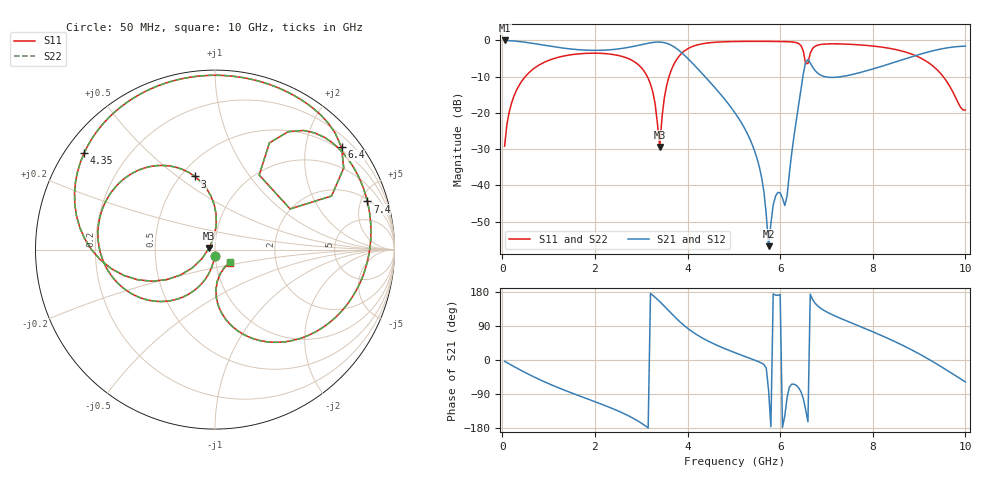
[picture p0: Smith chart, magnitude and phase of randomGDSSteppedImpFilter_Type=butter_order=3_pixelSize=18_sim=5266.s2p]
! freq	dB(S11)	phase(S11)	dB(S12)	phase(S12)
!  dB(S21)	phase(S21)	dB(S22)	phase(S22)
!S-par simulation data
#  GHz  S  DB  R 50
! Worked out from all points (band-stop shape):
!   200 points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, 50 MHz to 10 GHz, reference 50 ohm
!   highest |S21| = -0.01 dB at 50 MHz (marker M1); lowest = -56.7 dB at 5.75 GHz (marker M2)
!   |S21| within 3 dB of the highest: start of sweep to 3.838 GHz; 9.25 GHz to end of sweep
!   lowest |S11| = -29.4 dB at 3.4 GHz (marker M3), VSWR 1.07, Z = 46.8 + j0.802 ohm
!   |S11| at or under -10 dB: start of sweep to 495.2 MHz; 3.132 GHz to 3.6 GHz (467.8 MHz wide, 13.9 % of centre); 9.522 GHz to end of sweep
!   |S22| runs from -29.4 to -0.3 dB; largest |S21 - S12| = 0
!   S11 on the Smith chart (normalised r, x): 50 MHz: 0.99, -0.07; 3 GHz: 0.58, +0.58; 4.35 GHz: 0.05, +0.33; 6.4 GHz: 0.43, +2.77; 7.4 GHz: 2.18, +5.66; 10 GHz: 1.17, -0.17
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0.05  -29.14 -93.6  -0.01 -3.5  -0.01 -3.5  -29.14 -93.6
0.2  -17.26 -104.3  -0.10 -13.8  -0.10 -13.8  -17.26 -104.3
0.5  -9.92 -124.0  -0.52 -33.5  -0.52 -33.5  -9.92 -124.0
1.75  -3.61 171.0  -2.64 -98.6  -2.64 -98.6  -3.61 171.0
3  -7.47 105.4  -1.17 -166.4  -1.17 -166.4  -7.47 105.4
3.25  -14.23 88.1  -0.55 170.9  -0.55 170.9  -14.23 88.0
3.4  -29.39 165.4  -0.45 154.1  -0.45 154.1  -29.43 165.5
3.5  -15.76 -141.2  -0.62 141.9  -0.62 141.9  -15.76 -141.1
3.65  -8.15 -153.3  -1.34 122.9  -1.34 122.9  -8.15 -153.2
4.35  -0.86 143.7  -9.60 56.0  -9.60 56.0  -0.86 143.7
5.05  -0.29 106.9  -20.45 18.1  -20.45 18.1  -0.29 106.9
5.55  -0.25 85.2  -34.87 -5.4  -34.87 -5.4  -0.25 85.2
5.75  -0.26 76.5  -56.73 -79.7  -56.73 -79.7  -0.26 76.5
5.9  -0.28 69.9  -42.94 171.4  -42.94 171.4  -0.28 69.9
6.15  -0.34 57.6  -42.84 -98.7  -42.84 -98.7  -0.34 57.6
6.4  -0.86 38.9  -17.66 -73.3  -17.66 -73.3  -0.86 38.9
6.55  -6.45 28.4  -6.01 -130.7  -6.01 -130.7  -6.46 28.4
6.7  -2.23 58.2  -7.33 159.7  -7.33 159.7  -2.23 58.2
7.4  -1.01 17.6  -9.81 104.9  -9.81 104.9  -1.01 17.6
8.35  -2.16 -26.9  -6.51 55.7  -6.51 55.7  -2.16 -27.0
9.35  -7.63 -79.3  -2.70 -8.2  -2.70 -8.2  -7.63 -79.5
10  -19.18 -41.4  -1.58 -57.8  -1.58 -57.8  -19.39 -41.0
